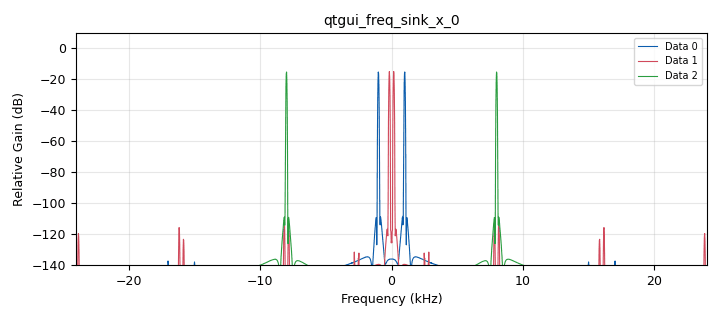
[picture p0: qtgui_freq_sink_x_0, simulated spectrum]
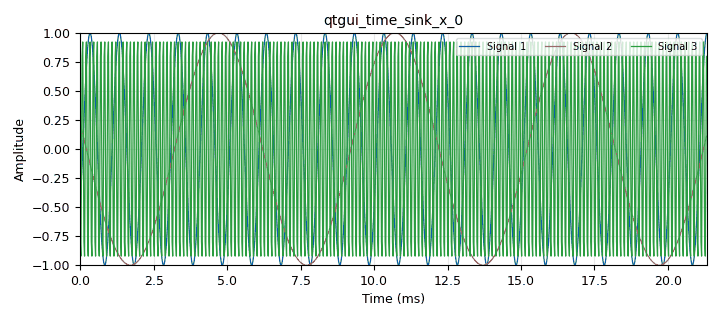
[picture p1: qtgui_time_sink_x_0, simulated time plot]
options:
  parameters:
    author: Damian Morales 2180389
    generate_options: qt_gui
    id: Practica2_p2_g6
    output_language: python
    title: Diezmar e Intepolar
  states: {}

blocks:
- name: freq
  id: variable_qtgui_range
  parameters:
    label: Frecuencia
    start: '0'
    step: '1000'
    stop: '40000'
    value: '1000'
  states: {}
- name: samp_rate
  id: variable
  parameters:
    value: '48000'
  states: {}
- name: analog_sig_source_x_0
  id: analog_sig_source_x
  parameters:
    amp: '1'
    freq: freq
    offset: '0'
    phase: '0'
    samp_rate: samp_rate
    type: float
    waveform: analog.GR_COS_WAVE
  states: {}
- name: analog_sig_source_x_0_0
  id: analog_sig_source_x
  parameters:
    amp: '1'
    freq: freq
    offset: '0'
    phase: '0'
    samp_rate: samp_rate
    type: float
    waveform: analog.GR_COS_WAVE
  states: {}
- name: analog_sig_source_x_0_1
  id: analog_sig_source_x
  parameters:
    amp: '1'
    freq: freq
    offset: '0'
    phase: '0'
    samp_rate: samp_rate
    type: float
    waveform: analog.GR_COS_WAVE
  states: {}
- name: blocks_throttle_0
  id: blocks_throttle
  parameters:
    samples_per_second: samp_rate
    type: float
  states: {}
- name: qtgui_freq_sink_x_0
  id: qtgui_freq_sink_x
  parameters:
    bw: samp_rate
    fc: '0'
    fftsize: '2048'
    nconnections: '3'
    type: float
  states: {}
- name: qtgui_time_sink_x_0
  id: qtgui_time_sink_x
  parameters:
    nconnections: '3'
    size: '1024'
    srate: samp_rate
    type: float
  states: {}
- name: rational_resampler_xxx_0
  id: rational_resampler_xxx
  parameters:
    decim: '1'
    interp: '1'
    type: fff
  states: {}
- name: rational_resampler_xxx_0_0
  id: rational_resampler_xxx
  parameters:
    decim: '8'
    interp: '1'
    type: fff
  states: {}
- name: rational_resampler_xxx_0_1
  id: rational_resampler_xxx
  parameters:
    decim: '1'
    interp: '6'
    type: fff
  states: {}

connections:
- [analog_sig_source_x_0, '0', rational_resampler_xxx_0, '0']
- [analog_sig_source_x_0_0, '0', rational_resampler_xxx_0_0, '0']
- [analog_sig_source_x_0_1, '0', rational_resampler_xxx_0_1, '0']
- [blocks_throttle_0, '0', qtgui_freq_sink_x_0, '0']
- [blocks_throttle_0, '0', qtgui_time_sink_x_0, '0']
- [rational_resampler_xxx_0, '0', blocks_throttle_0, '0']
- [rational_resampler_xxx_0_0, '0', qtgui_freq_sink_x_0, '2']
- [rational_resampler_xxx_0_0, '0', qtgui_time_sink_x_0, '2']
- [rational_resampler_xxx_0_1, '0', qtgui_freq_sink_x_0, '1']
- [rational_resampler_xxx_0_1, '0', qtgui_time_sink_x_0, '1']

metadata:
  file_format: 1
